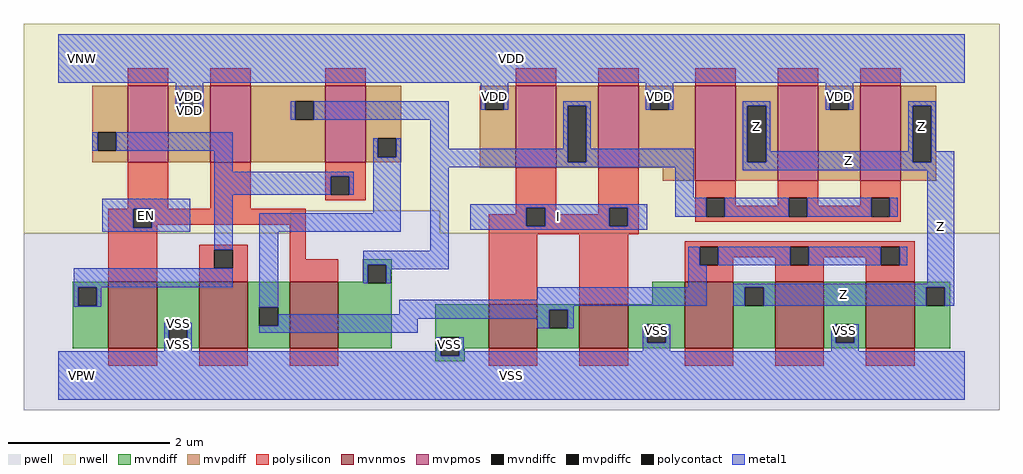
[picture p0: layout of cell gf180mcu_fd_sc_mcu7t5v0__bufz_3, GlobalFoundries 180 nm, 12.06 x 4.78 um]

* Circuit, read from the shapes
.subckt gf180mcu_fd_sc_mcu7t5v0__bufz_3 EN I Z VDD VNW VPW VSS
XM1 VSS EN n1 VPW nfet_06v0 w=0.82u l=0.6u
XM2 n2 n1 VSS VPW nfet_06v0 w=0.82u l=0.6u
XM3 n3 EN n2 VPW nfet_06v0 w=0.82u l=0.6u
XM4 n2 I VSS VPW nfet_06v0 w=0.54u l=0.6u m=2
XM5 Z n2 VSS VPW nfet_06v0 w=0.82u l=0.6u m=3
XM6 VDD EN n1 VNW pfet_06v0 w=0.945u l=0.5u
XM7 n3 EN VDD VNW pfet_06v0 w=0.945u l=0.5u
XM8 n2 n1 n3 VNW pfet_06v0 w=0.945u l=0.5u
XM9 n3 I VDD VNW pfet_06v0 w=1.01u l=0.5u m=2
XM10 Z n3 VDD VNW pfet_06v0 w=1.175u l=0.5u m=3
.ends

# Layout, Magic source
magic
tech gf180mcuD
magscale 1 10
<< nwell >>
rect -86 407 2326 870
rect -86 352 575 407
rect 943 352 2326 407
<< pwell >>
rect 575 352 943 407
rect -86 -86 2326 352
<< mvnmos >>
rect 124 68 244 232
rect 348 68 468 232
rect 572 68 692 232
rect 1064 68 1184 176
rect 1288 68 1408 176
rect 1548 68 1668 232
rect 1772 68 1892 232
rect 1996 68 2116 232
<< mvpmos >>
rect 172 527 272 716
rect 376 527 476 716
rect 660 527 760 716
rect 1130 514 1230 716
rect 1334 514 1434 716
rect 1574 481 1674 716
rect 1778 481 1878 716
rect 1982 481 2082 716
<< mvndiff >>
rect 752 274 824 287
rect 752 232 765 274
rect 36 219 124 232
rect 36 173 49 219
rect 95 173 124 219
rect 36 68 124 173
rect 244 128 348 232
rect 244 82 273 128
rect 319 82 348 128
rect 244 68 348 82
rect 468 169 572 232
rect 468 123 497 169
rect 543 123 572 169
rect 468 68 572 123
rect 692 228 765 232
rect 811 228 824 274
rect 692 68 824 228
rect 1468 176 1548 232
rect 932 95 1064 176
rect 932 49 945 95
rect 991 68 1064 95
rect 1184 163 1288 176
rect 1184 117 1213 163
rect 1259 117 1288 163
rect 1184 68 1288 117
rect 1408 127 1548 176
rect 1408 81 1455 127
rect 1501 81 1548 127
rect 1408 68 1548 81
rect 1668 219 1772 232
rect 1668 173 1697 219
rect 1743 173 1772 219
rect 1668 68 1772 173
rect 1892 127 1996 232
rect 1892 81 1921 127
rect 1967 81 1996 127
rect 1892 68 1996 81
rect 2116 219 2204 232
rect 2116 173 2145 219
rect 2191 173 2204 219
rect 2116 68 2204 173
rect 991 49 1004 68
rect 932 36 1004 49
<< mvpdiff >>
rect 84 602 172 716
rect 84 556 97 602
rect 143 556 172 602
rect 84 527 172 556
rect 272 698 376 716
rect 272 652 301 698
rect 347 652 376 698
rect 272 527 376 652
rect 476 678 660 716
rect 476 632 585 678
rect 631 632 660 678
rect 476 527 660 632
rect 760 586 848 716
rect 760 540 789 586
rect 835 540 848 586
rect 760 527 848 540
rect 1042 703 1130 716
rect 1042 657 1055 703
rect 1101 657 1130 703
rect 1042 514 1130 657
rect 1230 667 1334 716
rect 1230 527 1259 667
rect 1305 527 1334 667
rect 1230 514 1334 527
rect 1434 703 1574 716
rect 1434 657 1463 703
rect 1509 657 1574 703
rect 1434 514 1574 657
rect 1494 481 1574 514
rect 1674 667 1778 716
rect 1674 527 1703 667
rect 1749 527 1778 667
rect 1674 481 1778 527
rect 1878 703 1982 716
rect 1878 657 1907 703
rect 1953 657 1982 703
rect 1878 481 1982 657
rect 2082 667 2170 716
rect 2082 527 2111 667
rect 2157 527 2170 667
rect 2082 481 2170 527
<< mvndiffc >>
rect 49 173 95 219
rect 273 82 319 128
rect 497 123 543 169
rect 765 228 811 274
rect 945 49 991 95
rect 1213 117 1259 163
rect 1455 81 1501 127
rect 1697 173 1743 219
rect 1921 81 1967 127
rect 2145 173 2191 219
<< mvpdiffc >>
rect 97 556 143 602
rect 301 652 347 698
rect 585 632 631 678
rect 789 540 835 586
rect 1055 657 1101 703
rect 1259 527 1305 667
rect 1463 657 1509 703
rect 1703 527 1749 667
rect 1907 657 1953 703
rect 2111 527 2157 667
<< polysilicon >>
rect 172 716 272 760
rect 376 716 476 760
rect 660 716 760 760
rect 1130 716 1230 760
rect 1334 716 1434 760
rect 1574 716 1674 760
rect 1778 716 1878 760
rect 1982 716 2082 760
rect 172 413 272 527
rect 376 413 476 527
rect 660 493 760 527
rect 660 447 673 493
rect 719 447 760 493
rect 660 434 760 447
rect 1130 415 1230 514
rect 124 412 612 413
rect 124 366 185 412
rect 231 373 612 412
rect 1130 399 1157 415
rect 231 366 244 373
rect 124 232 244 366
rect 348 311 468 324
rect 348 265 385 311
rect 431 265 468 311
rect 348 232 468 265
rect 572 288 612 373
rect 1064 369 1157 399
rect 1203 399 1230 415
rect 1334 415 1434 514
rect 1334 399 1361 415
rect 1203 369 1361 399
rect 1407 369 1434 415
rect 1574 439 1674 481
rect 1574 393 1601 439
rect 1647 420 1674 439
rect 1778 439 1878 481
rect 1778 420 1805 439
rect 1647 393 1805 420
rect 1851 420 1878 439
rect 1982 439 2082 481
rect 1982 420 2009 439
rect 1851 393 2009 420
rect 2055 393 2082 439
rect 1574 380 2082 393
rect 1064 349 1434 369
rect 572 232 692 288
rect 1064 176 1184 349
rect 1288 176 1408 349
rect 1548 319 2116 332
rect 1548 273 1585 319
rect 1631 292 1809 319
rect 1631 273 1668 292
rect 1548 232 1668 273
rect 1772 273 1809 292
rect 1855 292 2033 319
rect 1855 273 1892 292
rect 1772 232 1892 273
rect 1996 273 2033 292
rect 2079 273 2116 319
rect 1996 232 2116 273
rect 124 24 244 68
rect 348 24 468 68
rect 572 24 692 68
rect 1064 24 1184 68
rect 1288 24 1408 68
rect 1548 24 1668 68
rect 1772 24 1892 68
rect 1996 24 2116 68
<< polycontact >>
rect 673 447 719 493
rect 185 366 231 412
rect 385 265 431 311
rect 1157 369 1203 415
rect 1361 369 1407 415
rect 1601 393 1647 439
rect 1805 393 1851 439
rect 2009 393 2055 439
rect 1585 273 1631 319
rect 1809 273 1855 319
rect 2033 273 2079 319
<< metal1 >>
rect 0 724 2240 844
rect 290 698 358 724
rect 290 652 301 698
rect 347 652 358 698
rect 1044 703 1112 724
rect 574 632 585 678
rect 631 632 965 678
rect 1044 657 1055 703
rect 1101 657 1112 703
rect 1452 703 1520 724
rect 1248 667 1316 678
rect 84 556 97 602
rect 143 556 431 602
rect 385 504 431 556
rect 778 540 789 586
rect 835 540 846 586
rect 385 493 730 504
rect 385 447 673 493
rect 719 447 730 493
rect 109 412 326 437
rect 109 366 185 412
rect 231 366 326 412
rect 109 355 326 366
rect 385 311 431 447
rect 778 401 846 540
rect 38 219 431 265
rect 497 355 846 401
rect 919 561 965 632
rect 1248 561 1259 667
rect 919 527 1259 561
rect 1305 561 1316 667
rect 1452 657 1463 703
rect 1509 657 1520 703
rect 1896 703 1964 724
rect 1692 667 1760 678
rect 1305 527 1571 561
rect 919 515 1571 527
rect 38 173 49 219
rect 95 173 106 219
rect 38 170 106 173
rect 497 169 543 355
rect 919 309 965 515
rect 1525 439 1571 515
rect 1692 527 1703 667
rect 1749 554 1760 667
rect 1896 657 1907 703
rect 1953 657 1964 703
rect 2100 667 2168 678
rect 2100 554 2111 667
rect 1749 527 2111 554
rect 2157 554 2168 667
rect 2157 527 2214 554
rect 1692 508 2214 527
rect 1018 415 1455 424
rect 1018 369 1157 415
rect 1203 369 1361 415
rect 1407 369 1455 415
rect 1525 393 1601 439
rect 1647 393 1805 439
rect 1851 393 2009 439
rect 2055 393 2074 439
rect 1018 360 1455 369
rect 754 274 965 309
rect 754 228 765 274
rect 811 263 965 274
rect 1557 273 1585 319
rect 1631 273 1809 319
rect 1855 273 2033 319
rect 2079 273 2098 319
rect 811 228 822 263
rect 1557 219 1603 273
rect 2148 227 2214 508
rect 1184 187 1603 219
rect 262 128 330 131
rect 262 82 273 128
rect 319 82 330 128
rect 843 173 1603 187
rect 1668 219 2214 227
rect 1668 173 1697 219
rect 1743 173 2145 219
rect 2191 173 2214 219
rect 843 163 1274 173
rect 843 152 1213 163
rect 543 141 1213 152
rect 543 123 888 141
rect 497 106 888 123
rect 1184 117 1213 141
rect 1259 117 1274 163
rect 262 60 330 82
rect 934 60 945 95
rect 0 49 945 60
rect 991 60 1002 95
rect 1444 81 1455 127
rect 1501 81 1512 127
rect 1444 60 1512 81
rect 1910 81 1921 127
rect 1967 81 1978 127
rect 1910 60 1978 81
rect 991 49 2240 60
rect 0 -60 2240 49
<< labels >>
flabel metal1 s 109 355 326 437 0 FreeSans 600 0 0 0 EN
port 1 nsew default input
flabel metal1 s 0 724 2240 844 0 FreeSans 400 0 0 0 VDD
port 4 nsew power bidirectional abutment
flabel metal1 s 262 127 330 131 0 FreeSans 400 0 0 0 VSS
port 7 nsew ground bidirectional abutment
flabel metal1 s 2100 554 2168 678 0 FreeSans 400 0 0 0 Z
port 3 nsew default output
flabel metal1 s 1018 360 1455 424 0 FreeSans 400 0 0 0 I
port 2 nsew default input
flabel nwell s 10 734 110 834 0 FreeSans 400 0 0 0 VNW
port 5 nsew power bidirectional
flabel pwell s 10 -50 110 50 0 FreeSans 400 0 0 0 VPW
port 6 nsew ground bidirectional
rlabel metal1 s 1692 554 1760 678 1 Z
port 3 nsew default output
rlabel metal1 s 1692 508 2214 554 1 Z
port 3 nsew default output
rlabel metal1 s 2148 227 2214 508 1 Z
port 3 nsew default output
rlabel metal1 s 1668 173 2214 227 1 Z
port 3 nsew default output
rlabel metal1 s 1896 657 1964 724 1 VDD
port 4 nsew power bidirectional abutment
rlabel metal1 s 1452 657 1520 724 1 VDD
port 4 nsew power bidirectional abutment
rlabel metal1 s 1044 657 1112 724 1 VDD
port 4 nsew power bidirectional abutment
rlabel metal1 s 290 657 358 724 1 VDD
port 4 nsew power bidirectional abutment
rlabel metal1 s 290 652 358 657 1 VDD
port 4 nsew power bidirectional abutment
rlabel metal1 s 1910 95 1978 127 1 VSS
port 7 nsew ground bidirectional abutment
rlabel metal1 s 1444 95 1512 127 1 VSS
port 7 nsew ground bidirectional abutment
rlabel metal1 s 262 95 330 127 1 VSS
port 7 nsew ground bidirectional abutment
rlabel metal1 s 1910 60 1978 95 1 VSS
port 7 nsew ground bidirectional abutment
rlabel metal1 s 1444 60 1512 95 1 VSS
port 7 nsew ground bidirectional abutment
rlabel metal1 s 934 60 1002 95 1 VSS
port 7 nsew ground bidirectional abutment
rlabel metal1 s 262 60 330 95 1 VSS
port 7 nsew ground bidirectional abutment
rlabel metal1 s 0 -60 2240 60 1 VSS
port 7 nsew ground bidirectional abutment
<< properties >>
string FIXED_BBOX 0 0 2240 784
string GDS_END 1402726
string GDS_FILE $PDKPATH/libs.ref/gf180mcu_fd_sc_mcu7t5v0/gds/gf180mcu_fd_sc_mcu7t5v0.gds
string GDS_START 1396932
string LEFclass core
string LEFsite GF018hv5v_mcu_sc7
string LEFsymmetry X Y
<< end >>
